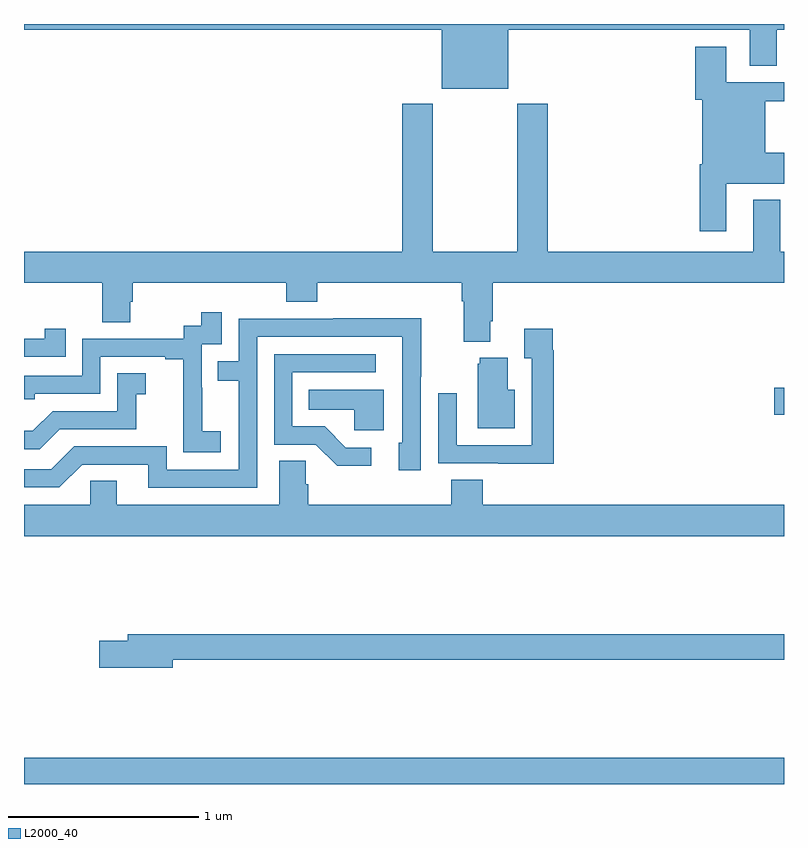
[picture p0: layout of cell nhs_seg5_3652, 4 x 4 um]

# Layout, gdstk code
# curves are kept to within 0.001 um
import gdstk
lib = gdstk.Library(unit=1e-6, precision=1e-09)
def R(c, l, rs):  # rectangles x0, y0, x1, y1
    for r in rs: c.add(gdstk.rectangle(r[:2], r[2:], *l))
def P(c, l, *ps):  # polygons
    for p in ps: c.add(gdstk.Polygon(p, *l))
L2000_40 = (2000, 40)

nhs_seg5_3652 = lib.new_cell('nhs_seg5_3652')
R(nhs_seg5_3652, L2000_40, [(327,844.799,331,844.936), (330.948,846.742,331,846.884)])
P(nhs_seg5_3652, L2000_40, [(329.548,848.768),(330.821,848.768),(330.821,848.578),(330.961,848.578),(330.961,848.768),(331,848.768),(331,848.799),(327,848.799),(327,848.768),(329.198,848.768),(329.198,848.459),(329.548,848.459)],
  [(330.697,847.958),(331,847.958),(331,848.122),(330.901,848.122),(330.901,848.392),(331,848.392),(331,848.493),(330.697,848.493),(330.697,848.68),(330.533,848.68),(330.533,848.4),(330.569,848.4),(330.569,848.062),(330.557,848.062),(330.557,847.707),(330.697,847.707)],
  [(329.455,847.234),(329.468,847.234),(329.468,847.436),(331,847.436),(331,847.6),(330.979,847.6),(330.979,847.873),(330.839,847.873),(330.839,847.6),(329.756,847.6),(329.756,848.38),(329.596,848.38),(329.596,847.6),(329.151,847.6),(329.151,848.38),(328.991,848.38),(328.991,847.6),(327,847.6),(327,847.436),(327.412,847.436),(327.412,847.228),(327.559,847.228),(327.559,847.338),(327.572,847.338),(327.572,847.436),(328.379,847.436),(328.379,847.337),(328.544,847.337),(328.544,847.436),(329.303,847.436),(329.303,847.34),(329.315,847.34),(329.315,847.127),(329.455,847.127)],
  [(328.036,846.655),(327.938,846.655),(327.938,846.884),(327.936,846.884),(327.936,847.113),(328.041,847.113),(328.041,847.282),(327.933,847.282),(327.933,847.212),(327.84,847.212),(327.84,847.143),(327.306,847.143),(327.306,846.948),(327,846.948),(327,846.825),(327.057,846.825),(327.057,846.852),(327.402,846.852),(327.402,847.047),(327.743,847.047),(327.743,847.035),(327.839,847.035),(327.839,846.751),(327.838,846.751),(327.838,846.545),(328.036,846.545)],
  [(328.227,847.152),(328.991,847.152),(328.992,846.594),(328.973,846.594),(328.973,846.45),(329.088,846.45),(329.088,846.943),(329.091,846.943),(329.091,847.25),(328.627,847.25),(328.627,847.248),(328.131,847.248),(328.131,847.023),(328.021,847.023),(328.021,846.922),(328.131,846.922),(328.131,846.453),(327.75,846.453),(327.75,846.576),(327.264,846.576),(327.144,846.456),(327,846.456),(327,846.36),(327.186,846.36),(327.306,846.48),(327.653,846.48),(327.653,846.357),(328.227,846.357)],
  [(327.221,847.195),(327.11,847.195),(327.11,847.143),(327,847.143),(327,847.047),(327.221,847.047)],
  [(329.789,847.082),(329.782,847.082),(329.782,847.195),(329.633,847.195),(329.633,847.039),(329.673,847.039),(329.673,846.582),(329.277,846.582),(329.277,846.856),(329.181,846.856),(329.181,846.486),(329.497,846.486),(329.497,846.485),(329.789,846.485)],
  [(328.828,846.57),(328.693,846.57),(328.582,846.681),(328.413,846.681),(328.413,846.966),(328.852,846.966),(328.852,847.062),(328.317,847.062),(328.317,846.585),(328.536,846.585),(328.649,846.473),(328.828,846.473)],
  [(329.584,846.874),(329.545,846.874),(329.545,847.042),(329.399,847.042),(329.399,847.011),(329.387,847.011),(329.387,846.671),(329.584,846.671)],
  [(327.187,846.666),(327.591,846.666),(327.591,846.851),(327.64,846.851),(327.64,846.961),(327.492,846.961),(327.492,846.762),(327.15,846.762),(327.046,846.658),(327,846.658),(327,846.561),(327.082,846.561)],
  [(328.894,846.874),(328.498,846.874),(328.498,846.77),(328.737,846.77),(328.737,846.662),(328.894,846.662)],
  [(331,846.268),(329.414,846.268),(329.414,846.401),(329.249,846.401),(329.249,846.268),(328.496,846.268),(328.496,846.377),(328.482,846.377),(328.482,846.5),(328.343,846.5),(328.343,846.268),(327.487,846.268),(327.487,846.395),(327.348,846.395),(327.348,846.268),(327,846.268),(327,846.104),(331,846.104)],
  [(327.784,845.452),(331,845.452),(331,845.588),(327.545,845.588),(327.545,845.552),(327.396,845.552),(327.396,845.41),(327.784,845.41)])

lib.write_gds('nhs_seg5_3652.gds')
